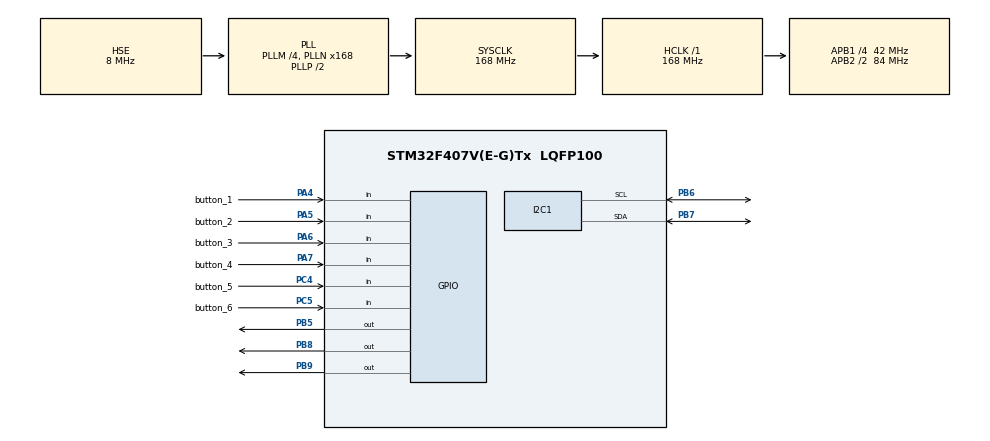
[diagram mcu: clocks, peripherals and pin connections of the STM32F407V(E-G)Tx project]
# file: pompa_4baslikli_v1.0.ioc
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Mcu.Family=STM32F4
Mcu.Name=STM32F407V(E-G)Tx
Mcu.Package=LQFP100
NVIC.PriorityGroup=NVIC_PRIORITYGROUP_4
PA13.Mode=Serial_Wire
PA13.Signal=SYS_JTMS-SWDIO
PA14.Mode=Serial_Wire
PA14.Signal=SYS_JTCK-SWCLK
PA4.GPIO_Label=button_1
PA4.Signal=GPIO_Input
PA5.GPIO_Label=button_2
PA5.Signal=GPIO_Input
PA6.GPIO_Label=button_3
PA6.Signal=GPIO_Input
PA7.GPIO_Label=button_4
PA7.Signal=GPIO_Input
PB5.Signal=GPIO_Output
PB6.Mode=I2C
PB6.Signal=I2C1_SCL
PB7.Mode=I2C
PB7.Signal=I2C1_SDA
PB8.Signal=GPIO_Output
PB9.Signal=GPIO_Output
PC4.GPIO_Label=button_5
PC4.Signal=GPIO_Input
PC5.GPIO_Label=button_6
PC5.GPIO_PuPd=GPIO_NOPULL
PC5.Signal=GPIO_Input
PH0-OSC_IN.Mode=HSE-External-Oscillator
PH0-OSC_IN.Signal=RCC_OSC_IN
PH1-OSC_OUT.Mode=HSE-External-Oscillator
PH1-OSC_OUT.Signal=RCC_OSC_OUT
ProjectManager.HeapSize=0x200
ProjectManager.StackSize=0x400
ProjectManager.TargetToolchain=STM32CubeIDE
RCC.48MHZClocksFreq_Value=84000000
RCC.AHBFreq_Value=168000000
RCC.APB1CLKDivider=RCC_HCLK_DIV4
RCC.APB1Freq_Value=42000000
RCC.APB1TimFreq_Value=84000000
RCC.APB2CLKDivider=RCC_HCLK_DIV2
RCC.APB2Freq_Value=84000000
RCC.APB2TimFreq_Value=168000000
RCC.CortexFreq_Value=168000000
RCC.HCLKFreq_Value=168000000
RCC.HSE_VALUE=8000000
RCC.HSI_VALUE=16000000
RCC.LSE_VALUE=32768
RCC.PLLM=4
RCC.PLLN=168
RCC.PLLSourceVirtual=RCC_PLLSOURCE_HSE
RCC.SYSCLKFreq_VALUE=168000000
RCC.SYSCLKSource=RCC_SYSCLKSOURCE_PLLCLK
RCC.VCOOutputFreq_Value=336000000
TIM2.Period=4000
TIM2.Prescaler=21000
VP_TIM2_VS_ClockSourceINT.Mode=Internal
board=custom

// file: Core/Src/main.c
/* USER CODE BEGIN Header */
/**
  ******************************************************************************
  * @file           : main.c
  * @brief          : Main program body
  ******************************************************************************
  * @attention
  *
  * Copyright (c) 2023 STMicroelectronics.
  * All rights reserved.
  *
  * This software is licensed under terms that can be found in the LICENSE file
  * in the root directory of this software component.
  * If no LICENSE file comes with this software, it is provided AS-IS.
  *
  ******************************************************************************
  */
/* USER CODE END Header */
#include "main.h"

/* USER CODE BEGIN Includes */
#include "STM32F407_I2C_LCD16x02_Driver.h"
#include "liquidcrystal_i2c.h"
#include "stdlib.h"
#include "ayarlar.h"
#include "rtc.h"
/* USER CODE END Includes */

/* USER CODE BEGIN PM */

Time_Struct setTimer;
Time_Struct time1;
Time_Struct time2;
Time_Struct time3;

/* USER CODE END PM */

I2C_HandleTypeDef hi2c1;

TIM_HandleTypeDef htim2;

/* USER CODE BEGIN PV */
int counter;
int tmr_start;
extern int degisken;
int delay=0;
int x;
char snum1[50];
char snum2[50];
uint8_t timehour1;
uint8_t timehour2;
uint8_t timemin1;
uint8_t timemin2;
uint8_t timesec1;
uint8_t timesec2;

uint16_t sec,min,day,date,hours;
/* USER CODE END PV */

void SystemClock_Config(void);
static void MX_GPIO_Init(void);
static void MX_I2C1_Init(void);
static void MX_TIM2_Init(void);
/* USER CODE BEGIN PFP */
void HAL_TIM_PeriodElapsedCallback(TIM_HandleTypeDef *htim){

	if(htim->Instance==htim2.Instance)
	{

		counter++;

	}
}
/* USER CODE END PFP */

/* USER CODE BEGIN 0 */
void timer_start(delay){
	HAL_TIM_Base_Start_IT(&htim2);
	if(counter>delay)
		{
			HAL_TIM_Base_Stop_IT(&htim2);

		}

}

/* USER CODE END 0 */

int main(void)
{

  /* MCU Configuration--------------------------------------------------------*/

  /* Reset of all peripherals, Initializes the Flash interface and the Systick. */
  HAL_Init();

  /* USER CODE BEGIN Init */
  DS1302_Init();

  /* USER CODE END Init */

  /* Configure the system clock */
  SystemClock_Config();

  /* Initialize all configured peripherals */
  MX_GPIO_Init();
  MX_I2C1_Init();
  MX_TIM2_Init();
  /* USER CODE BEGIN 2 */
     LCD_Init();
     HD44780_Init(2);

//     DS1302_Init();
//     setTimer.year=2023;
//     setTimer.month=2;
//     setTimer.date=4;
//     setTimer.day=6;
//     setTimer.isHourClock24=TRUE;
//     setTimer.isAm=FALSE;
//     setTimer.hour=12;
//     setTimer.min=59;
//     setTimer.sec=45;
//     DS1302_SetTime_Struct(&setTimer);

      LCD_Send_String_On_Line1("     CITech");
	  HAL_Delay(2000);
	  LCD_Send_Cmd(LCD_CLEAR_DISPLAY);
	  LCD_Send_String_On_Line1("4 Pompali Dozaj");
      HAL_Delay(1000);
      LCD_Send_Cmd(LCD_CLEAR_DISPLAY);
      LCD_Send_String_On_Line1("     CITech");

   //   uint32_t firsttime=0,lasttime=0;

  /* USER CODE END 2 */

  /* Infinite loop */
  while (1)
  {

    /* USER CODE BEGIN 3 */

//	  firsttime =HAL_GetTick();
//
//	  if(firsttime >= lasttime + 950) // 950 ms bir bu kodu işle
//	  {
//		  time1=DS1302_ReadTime_Struct();
//		  sec=time1.sec;
//		  min=time1.min;
//		  day=time1.day;
//		  date=time1.date;
//		  hours=time1.hour;
//		  lasttime=HAL_GetTick();

//
//
//	  }

	  time1=DS1302_ReadTime_Struct();
 //time1=DS1302_ReadTime_Struct_Burst();
	                                                                                                         timehour2 =  time1.hour % 10;
	 	 	  				                          	 	  					                             timehour1 =  (time1.hour - timehour2)/10;
	 	 	  					                          	 	  					                         timemin2 =  time1.min % 10;
	 	 	  					                          	 	  					                         timemin1 =  (time1.min - timemin2)/10;
	 	 	  					                          	 	  					                         timesec2 =  time1.sec % 10;
	 	 	  					                          	 	  					                         timesec1 =  (time1.sec - timesec2)/10;

	                             itoa((timehour1), snum1, 10);
	  	 	  					 HD44780_SetCursor(4,1);
	  	 	  					 HD44780_PrintStr(snum1);

	  	 	  				     itoa((timehour2), snum2, 10);
	   	 	  					 HD44780_SetCursor(5,1);
	  	 	  					 HD44780_PrintStr(snum2);
//	  	 	  				     LCD_Send_String_On_Line2("      :");

	  	 	  				                             itoa((timemin1), snum1, 10);
	  	 	  					 	  					 HD44780_SetCursor(7,1);
	  	 	  					 	  					 HD44780_PrintStr(snum1);

                                                         itoa((timemin2), snum1, 10);
	 	  					                             HD44780_SetCursor(8,1);
	 	  					                             HD44780_PrintStr(snum1);
//	 	  					                             LCD_Send_String_On_Line2("         :");

	 	  					                          	  	 	  				                             itoa((timesec1), snum1, 10);
	 	  					                          	  	 	  					 	  					 HD44780_SetCursor(10,1);
	 	  					                          	  	 	  					 	  					 HD44780_PrintStr(snum1);

	 	  					                                                                                 itoa((timesec2), snum1, 10);
	 	  					                          	 	  					                             HD44780_SetCursor(11,1);
	 	  					                          	 	  					                             HD44780_PrintStr(snum1);

	  if(HAL_GPIO_ReadPin(GPIOA, GPIO_PIN_4)==1){
		  timer_start(2);
		  if(counter==delay){
			  counter=0;
			  delay=0;
			  Genel_Ekran_Ayar();

		  }

	  }

  }
  /* USER CODE END 3 */
}

void SystemClock_Config(void)
{
  RCC_OscInitTypeDef RCC_OscInitStruct = {0};
  RCC_ClkInitTypeDef RCC_ClkInitStruct = {0};

  /** Configure the main internal regulator output voltage
  */
  __HAL_RCC_PWR_CLK_ENABLE();
  __HAL_PWR_VOLTAGESCALING_CONFIG(PWR_REGULATOR_VOLTAGE_SCALE1);
  /** Initializes the RCC Oscillators according to the specified parameters
  * in the RCC_OscInitTypeDef structure.
  */
  RCC_OscInitStruct.OscillatorType = RCC_OSCILLATORTYPE_HSE;
  RCC_OscInitStruct.HSEState = RCC_HSE_ON;
  RCC_OscInitStruct.PLL.PLLState = RCC_PLL_ON;
  RCC_OscInitStruct.PLL.PLLSource = RCC_PLLSOURCE_HSE;
  RCC_OscInitStruct.PLL.PLLM = 4;
  RCC_OscInitStruct.PLL.PLLN = 168;
  RCC_OscInitStruct.PLL.PLLP = RCC_PLLP_DIV2;
  RCC_OscInitStruct.PLL.PLLQ = 4;
  if (HAL_RCC_OscConfig(&RCC_OscInitStruct) != HAL_OK)
  {
    Error_Handler();
  }
  /** Initializes the CPU, AHB and APB buses clocks
  */
  RCC_ClkInitStruct.ClockType = RCC_CLOCKTYPE_HCLK|RCC_CLOCKTYPE_SYSCLK
                              |RCC_CLOCKTYPE_PCLK1|RCC_CLOCKTYPE_PCLK2;
  RCC_ClkInitStruct.SYSCLKSource = RCC_SYSCLKSOURCE_PLLCLK;
  RCC_ClkInitStruct.AHBCLKDivider = RCC_SYSCLK_DIV1;
  RCC_ClkInitStruct.APB1CLKDivider = RCC_HCLK_DIV4;
  RCC_ClkInitStruct.APB2CLKDivider = RCC_HCLK_DIV2;

  if (HAL_RCC_ClockConfig(&RCC_ClkInitStruct, FLASH_LATENCY_5) != HAL_OK)
  {
    Error_Handler();
  }
}

static void MX_I2C1_Init(void)
{

  hi2c1.Instance = I2C1;
  hi2c1.Init.ClockSpeed = 100000;
  hi2c1.Init.DutyCycle = I2C_DUTYCYCLE_2;
  hi2c1.Init.OwnAddress1 = 0;
  hi2c1.Init.AddressingMode = I2C_ADDRESSINGMODE_7BIT;
  hi2c1.Init.DualAddressMode = I2C_DUALADDRESS_DISABLE;
  hi2c1.Init.OwnAddress2 = 0;
  hi2c1.Init.GeneralCallMode = I2C_GENERALCALL_DISABLE;
  hi2c1.Init.NoStretchMode = I2C_NOSTRETCH_DISABLE;
  if (HAL_I2C_Init(&hi2c1) != HAL_OK)
  {
    Error_Handler();
  }

}

static void MX_TIM2_Init(void)
{

  TIM_ClockConfigTypeDef sClockSourceConfig = {0};
  TIM_MasterConfigTypeDef sMasterConfig = {0};

  htim2.Instance = TIM2;
  htim2.Init.Prescaler = 21000;
  htim2.Init.CounterMode = TIM_COUNTERMODE_UP;
  htim2.Init.Period = 4000;
  htim2.Init.ClockDivision = TIM_CLOCKDIVISION_DIV1;
  htim2.Init.AutoReloadPreload = TIM_AUTORELOAD_PRELOAD_DISABLE;
  if (HAL_TIM_Base_Init(&htim2) != HAL_OK)
  {
    Error_Handler();
  }
  sClockSourceConfig.ClockSource = TIM_CLOCKSOURCE_INTERNAL;
  if (HAL_TIM_ConfigClockSource(&htim2, &sClockSourceConfig) != HAL_OK)
  {
    Error_Handler();
  }
  sMasterConfig.MasterOutputTrigger = TIM_TRGO_RESET;
  sMasterConfig.MasterSlaveMode = TIM_MASTERSLAVEMODE_DISABLE;
  if (HAL_TIMEx_MasterConfigSynchronization(&htim2, &sMasterConfig) != HAL_OK)
  {
    Error_Handler();
  }

}

static void MX_GPIO_Init(void)
{
  GPIO_InitTypeDef GPIO_InitStruct = {0};

  /* GPIO Ports Clock Enable */
  __HAL_RCC_GPIOH_CLK_ENABLE();
  __HAL_RCC_GPIOA_CLK_ENABLE();
  __HAL_RCC_GPIOC_CLK_ENABLE();
  __HAL_RCC_GPIOB_CLK_ENABLE();

  /*Configure GPIO pin Output Level */
  HAL_GPIO_WritePin(GPIOB, GPIO_PIN_5|GPIO_PIN_8|GPIO_PIN_9, GPIO_PIN_RESET);

  /*Configure GPIO pins : button_1_Pin button_2_Pin button_3_Pin button_4_Pin */
  GPIO_InitStruct.Pin = button_1_Pin|button_2_Pin|button_3_Pin|button_4_Pin;
  GPIO_InitStruct.Mode = GPIO_MODE_INPUT;
  GPIO_InitStruct.Pull = GPIO_NOPULL;
  HAL_GPIO_Init(GPIOA, &GPIO_InitStruct);

  /*Configure GPIO pins : button_5_Pin button_6_Pin */
  GPIO_InitStruct.Pin = button_5_Pin|button_6_Pin;
  GPIO_InitStruct.Mode = GPIO_MODE_INPUT;
  GPIO_InitStruct.Pull = GPIO_NOPULL;
  HAL_GPIO_Init(GPIOC, &GPIO_InitStruct);

  /*Configure GPIO pins : PB5 PB8 PB9 */
  GPIO_InitStruct.Pin = GPIO_PIN_5|GPIO_PIN_8|GPIO_PIN_9;
  GPIO_InitStruct.Mode = GPIO_MODE_OUTPUT_PP;
  GPIO_InitStruct.Pull = GPIO_NOPULL;
  GPIO_InitStruct.Speed = GPIO_SPEED_FREQ_LOW;
  HAL_GPIO_Init(GPIOB, &GPIO_InitStruct);

}

void Error_Handler(void)
{
  __disable_irq();
  while (1)
  {
  }
}
